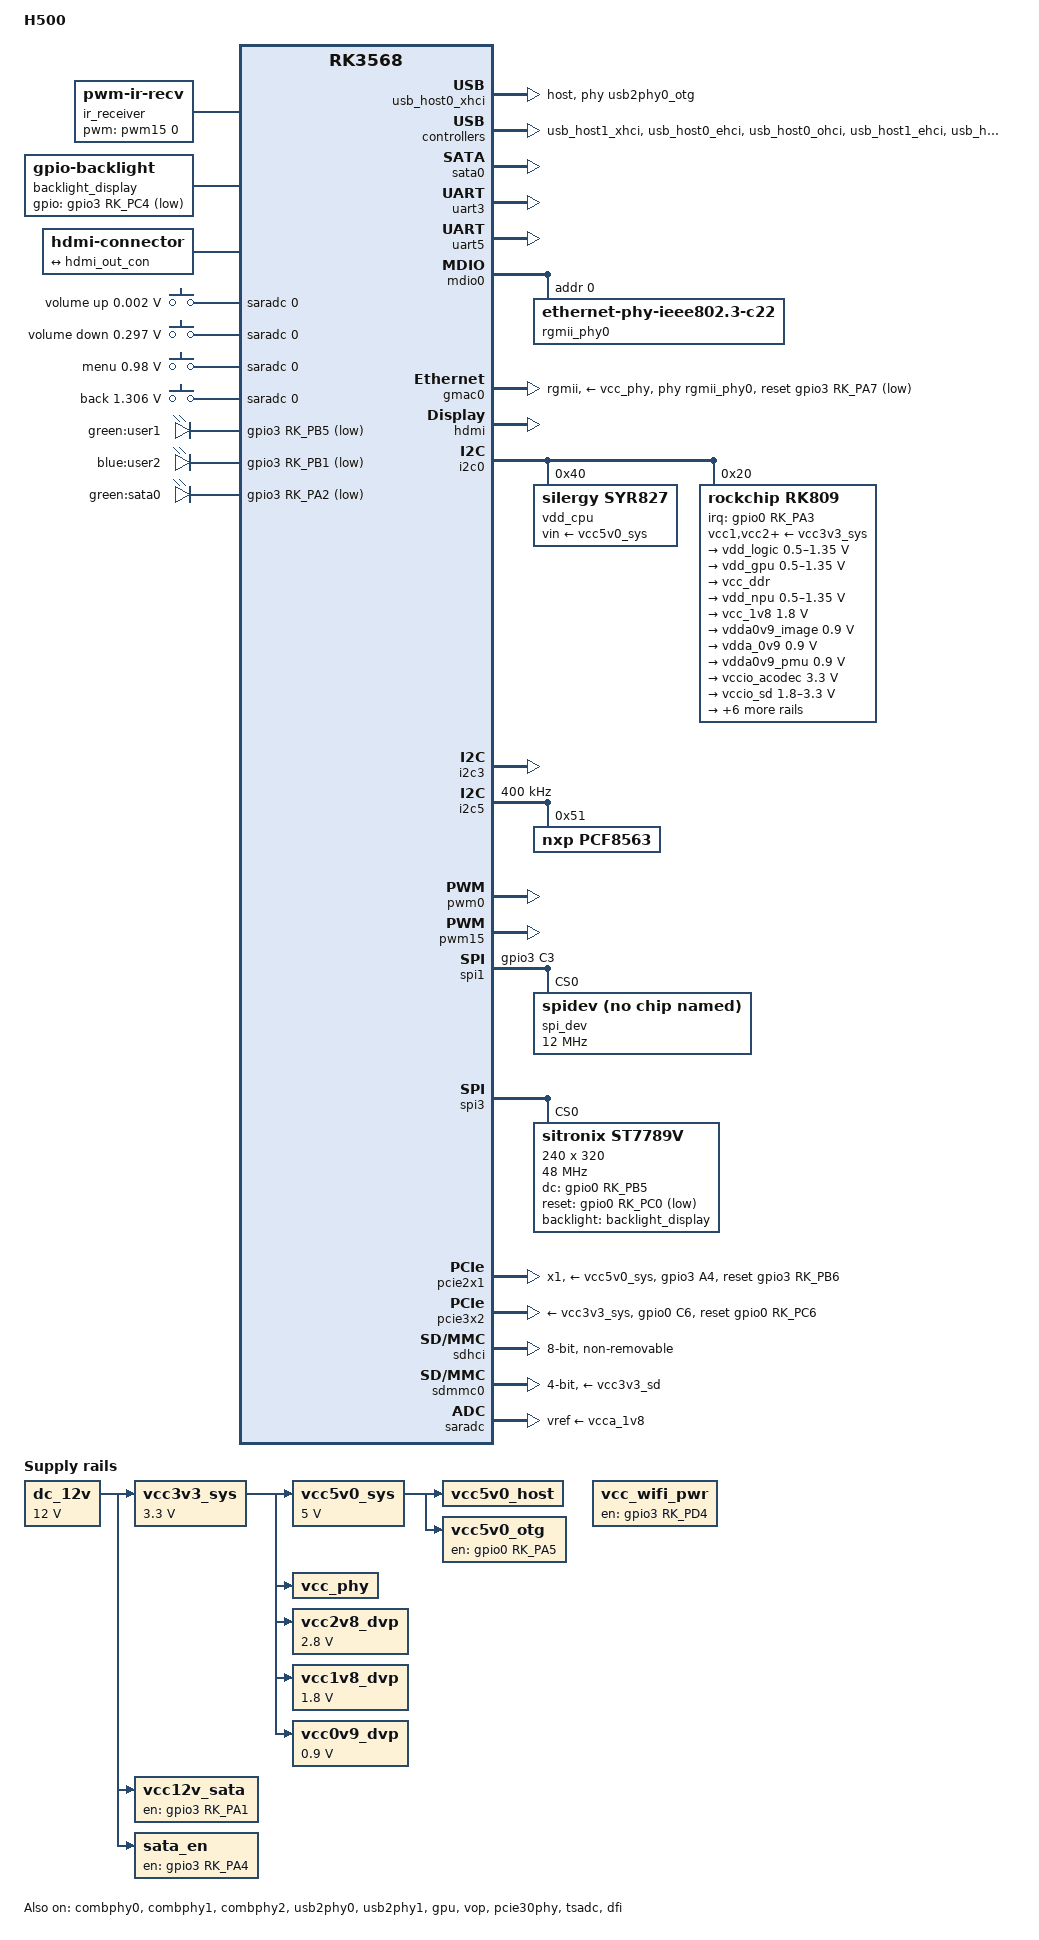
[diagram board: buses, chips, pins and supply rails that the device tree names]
// SPDX-License-Identifier: (GPL-2.0+ OR MIT)
/*
 * Copyright (c) 2021 Rockchip Electronics Co., Ltd.
 *
 */

/dts-v1/;
#include <dt-bindings/input/linux-event-codes.h>
#include <dt-bindings/pwm/pwm.h>
#include <dt-bindings/gpio/gpio.h>
#include <dt-bindings/leds/common.h>
#include <dt-bindings/pinctrl/rockchip.h>
#include <dt-bindings/soc/rockchip,vop2.h>
#include "rk3568.dtsi"
#include "rk3568-ip.dtsi"
#include "rk3568-ip-rk809.dtsi"
#include "rk3568-ramoops.dtsi"

/ {
	model = "H500";
	compatible = "rockchip,h500", "rockchip,rk3568";

	aliases {
		ethernet0 = &gmac0;
		mmc0 = &sdhci;
		mmc1 = &sdmmc0;
	};

	chosen: chosen {
		stdout-path = "serial2:1500000n8";
	};

	ir_receiver: ir-receiver {
		compatible = "pwm-ir-recv";
		pwms = <&pwm15 0 10000000 0>; 
		linux,rc-map-name = "rc-empty"; 
	};

	backlight_display: backlight-display {
		compatible = "gpio-backlight";
		gpios = <&gpio3 RK_PC4 GPIO_ACTIVE_LOW>;
		default-on;
	};

	hdmi-con {
		compatible = "hdmi-connector";
		type = "a";

		port {
			hdmi_con_in: endpoint {
				remote-endpoint = <&hdmi_out_con>;
			};
		};
	};	
	adc_keys: adc-keys {
		compatible = "adc-keys";
		io-channels = <&saradc 0>;
		io-channel-names = "buttons";
		keyup-threshold-microvolt = <1800000>;
		poll-interval = <100>;

		vol-up-key {
			label = "volume up";
			linux,code = <KEY_VOLUMEUP>;
			press-threshold-microvolt = <1750>;
		};

		vol-down-key {
			label = "volume down";
			linux,code = <KEY_VOLUMEDOWN>;
			press-threshold-microvolt = <297500>;
		};

		menu-key {
			label = "menu";
			linux,code = <KEY_MENU>;
			press-threshold-microvolt = <980000>;
		};

		back-key {
			label = "back";
			linux,code = <KEY_BACK>;
			press-threshold-microvolt = <1305500>;
		};
	};

	dc_12v: dc-12v-regulator {
		compatible = "regulator-fixed";
		regulator-name = "dc_12v";
		regulator-always-on;
		regulator-boot-on;
		regulator-min-microvolt = <12000000>;
		regulator-max-microvolt = <12000000>;
	};
	
	vcc3v3_sys: vcc3v3-sys {
		compatible = "regulator-fixed";
		regulator-name = "vcc3v3_sys";
		regulator-always-on;
		regulator-boot-on;
		regulator-min-microvolt = <3300000>;
		regulator-max-microvolt = <3300000>;
		vin-supply = <&dc_12v>;
	};

	vcc5v0_sys: vcc5v0-sys {
		compatible = "regulator-fixed";
		regulator-name = "vcc5v0_sys";
		regulator-always-on;
		regulator-boot-on;
		regulator-min-microvolt = <5000000>;
		regulator-max-microvolt = <5000000>;
		vin-supply = <&vcc3v3_sys>;
	};

	vcc_phy: vcc-phy-regulator {
		compatible = "regulator-fixed";
		regulator-name = "vcc_phy";
		regulator-always-on;
		regulator-boot-on;
		vin-supply = <&vcc3v3_sys>;
	};

	vcc12v_sata: vcc12v-sata {
		compatible = "regulator-fixed";
		regulator-name = "vcc12v_sata";
		regulator-always-on;
		regulator-boot-on;
		enable-active-high;
		gpios = <&gpio3 RK_PA1 GPIO_ACTIVE_HIGH>;
		vin-supply = <&dc_12v>;
		pinctrl-names = "default";
		pinctrl-0 = <&vcc12v_sata_enable_h>;
	};	

	sata_en: sata-en-regulator {
		compatible = "regulator-fixed";
		regulator-name = "sata_en";
		regulator-always-on;
		regulator-boot-on;
		enable-active-high;
		gpios = <&gpio3 RK_PA4 GPIO_ACTIVE_HIGH>;
		vin-supply = <&dc_12v>;
		pinctrl-names = "default";
		pinctrl-0 = <&asm1064_rst>;
	};
	
	vcc5v0_host: vcc5v0-host-regulator {
		compatible = "regulator-fixed";
		regulator-name = "vcc5v0_host";
		regulator-always-on;
		regulator-boot-on;
		vin-supply = <&vcc5v0_sys>;
	};

	vcc5v0_otg: vcc5v0-otg-regulator {
		compatible = "regulator-fixed";
		regulator-name = "vcc5v0_otg";
		regulator-always-on;
		regulator-boot-on;
		enable-active-high;
		gpios = <&gpio0 RK_PA5 GPIO_ACTIVE_HIGH>;
		vin-supply = <&vcc5v0_sys>;
		pinctrl-names = "default";
		pinctrl-0 = <&vcc5v0_otg_en>;
	};

	vcc2v8_dvp: vcc2v8-dvp-regulator {
		compatible = "regulator-fixed";
		regulator-name = "vcc2v8_dvp";
		regulator-always-on;
		regulator-boot-on;
		regulator-min-microvolt = <2800000>;
		regulator-max-microvolt = <2800000>;
		vin-supply = <&vcc3v3_sys>;
	};

	vcc1v8_dvp: vcc1v8-dvp-regulator {
		compatible = "regulator-fixed";
		regulator-name = "vcc1v8_dvp";
		regulator-always-on;
		regulator-boot-on;
		regulator-min-microvolt = <1800000>;
		regulator-max-microvolt = <1800000>;
		vin-supply = <&vcc3v3_sys>;
	};

	vcc0v9_dvp: vcc0v9-dvp-regulator {
		compatible = "regulator-fixed";
		regulator-name = "vcc0v9_dvp";
		regulator-always-on;
		regulator-boot-on;
		regulator-min-microvolt = <900000>;
		regulator-max-microvolt = <900000>;
		vin-supply = <&vcc3v3_sys>;
	};

	vcc_wifi_pwr: vcc-wifi-pwr {
		compatible = "regulator-fixed";
		regulator-name = "vcc_wifi_pwr";
		gpios = <&gpio3 RK_PD4 GPIO_ACTIVE_HIGH>;
		enable-active-high;
		regulator-always-on;
		regulator-boot-on;
	};

	leds {
		compatible = "gpio-leds";
		pinctrl-names = "default";
		pinctrl-0 = <&led_user_1 &led_user_2 &led_sata_0>;

		led-user-1 {
			label = "green:user1";
			gpios = <&gpio3 RK_PB5 GPIO_ACTIVE_LOW>;
			linux,default-trigger = "heartbeat";
		};

		led-user-2 {
			label = "blue:user2";
			gpios = <&gpio3 RK_PB1 GPIO_ACTIVE_LOW>;
		};

		led-sata-0 {
			label = "green:sata0";
			gpios = <&gpio3 RK_PA2 GPIO_ACTIVE_LOW>;
		};
	};

	rk809-sound {
		compatible = "simple-audio-card";
		simple-audio-card,format = "i2s";
		simple-audio-card,name = "Analog RK809";
		simple-audio-card,mclk-fs = <256>;
		status = "okay";

		simple-audio-card,cpu {
			sound-dai = <&i2s1_8ch>;
		};
		simple-audio-card,codec {
			sound-dai = <&rk809>;
		};
	};
};

&combphy0 {
	rockchip,phy-mode = <PHY_TYPE_USB3>;
	status = "okay";
};

&combphy1 {
	rockchip,phy-mode = <PHY_TYPE_USB3>; 
	status = "okay";
};

&combphy2 {
	rockchip,phy-mode = <PHY_TYPE_PCIE>;
	status = "okay";
};

&cpu0 {
	cpu-supply = <&vdd_cpu>;
};

&cpu1 {
	cpu-supply = <&vdd_cpu>;
};

&cpu2 {
	cpu-supply = <&vdd_cpu>;
};

&cpu3 {
	cpu-supply = <&vdd_cpu>;
};

&usb_host0_xhci {
	phys = <&usb2phy0_otg>;
	phy-names = "usb2-phy";
	extcon = <&usb2phy0>;
	maximum-speed = "high-speed";
	dr_mode = "host";
	status = "okay";
};

&usb_host1_xhci {
	status = "okay";
};

&usb2phy0 {
	status = "okay";

	u2phy0_host: host-port {
		phy-supply = <&vcc5v0_host>;
		status = "okay";
	};

	u2phy0_otg: otg-port {
		vbus-supply = <&vcc5v0_otg>;
		status = "okay";
	};
};

&usb2phy1 {
	status = "okay";

	u2phy1_host: host-port {
		phy-supply = <&vcc5v0_host>;
		status = "okay";
	};

	u2phy1_otg: otg-port {
		phy-supply = <&vcc5v0_host>;
		status = "okay";
	};
};

&usb_host0_ehci {
	status = "okay";
};

&usb_host0_ohci {
	status = "okay";
};

&usb_host1_ehci {
	status = "okay";
};

&usb_host1_ohci {
	status = "okay";
};

&sata0 {
	target-supply = <&sata_en>; 
	status = "okay";
};

&uart3 {
	pinctrl-names = "default";
	pinctrl-0 = <&uart3m1_xfer>;
	status = "okay";
};

&uart5 {
	pinctrl-names = "default";
	pinctrl-0 = <&uart5m1_xfer>;
	status = "okay";
};

&mdio0 {
	rgmii_phy0: phy@0 {
		compatible = "ethernet-phy-ieee802.3-c22";
		reg = <0x0>;
	};
};

&gmac0 {
	assigned-clocks = <&cru SCLK_GMAC0_RX_TX>, <&cru SCLK_GMAC0>;
	assigned-clock-parents = <&cru SCLK_GMAC0_RGMII_SPEED>, <&cru CLK_MAC0_2TOP>;
	assigned-clock-rates = <0>, <125000000>;
	clock_in_out = "input";
	phy-handle = <&rgmii_phy0>;
	phy-mode = "rgmii";
	phy-supply = <&vcc_phy>;
	snps,reset-active-low;
	snps,reset-delays-us = <0 20000 100000>;
	reset-gpios = <&gpio3 RK_PA7 GPIO_ACTIVE_LOW>;
	tx_delay = <0x2e>;
    rx_delay = <0x2a>;	
	pinctrl-names = "default";
	pinctrl-0 = <&gmac0_miim
		     &gmac0_tx_bus2
		     &gmac0_rx_bus2
		     &gmac0_rgmii_clk
		     &gmac0_rgmii_bus>;
	status = "okay";
};

&gpu {
	mali-supply = <&vdd_gpu>;
	status = "okay";
};

&hdmi {
	avdd-0v9-supply = <&vdda0v9_image>;
	avdd-1v8-supply = <&vcca1v8_image>;
	pinctrl-names = "default";
	pinctrl-0 = <&hdmitx_scl &hdmitx_sda &hdmitxm0_cec>;
	status = "okay";
};

&hdmi_in {
	hdmi_in_vp0: endpoint {
		remote-endpoint = <&vp0_out_hdmi>;
	};
};

&hdmi_out {
	hdmi_out_con: endpoint {
		remote-endpoint = <&hdmi_con_in>;
	};
};

&vop {
	assigned-clocks = <&cru DCLK_VOP0>, <&cru PLL_VPLL>, <&cru DCLK_VOP1>;
	assigned-clock-parents = <&pmucru PLL_HPLL>, <&xin24m>, <&cru PLL_VPLL>;
	assigned-clock-rates = <0>, <132000000>, <132000000>;
	status = "okay";
};

&vop_mmu {
	status = "okay";
};

&vp0 {
	vp0_out_hdmi: endpoint@ROCKCHIP_VOP2_EP_HDMI0 {
		reg = <ROCKCHIP_VOP2_EP_HDMI0>;
		remote-endpoint = <&hdmi_in_vp0>;
	};
};

&i2c0 {
	status = "okay";

	vdd_cpu: syr827@40 {
		compatible = "silergy,syr827";
		reg = <0x40>;
		vin-supply = <&vcc5v0_sys>;
		regulator-name = "vdd_cpu";
		regulator-min-microvolt = <712500>;
		regulator-max-microvolt = <1390000>;
		regulator-ramp-delay = <2300>;
		fcs,suspend-voltage-selector = <1>;
		regulator-always-on;
		regulator-boot-on;

		regulator-state-mem {
			regulator-off-in-suspend;
		};
	};

	rk809: pmic@20 {
		compatible = "rockchip,rk809";
		reg = <0x20>;
		interrupt-parent = <&gpio0>;
		interrupts = <RK_PA3 IRQ_TYPE_LEVEL_LOW>;
		assigned-clocks = <&cru I2S1_MCLKOUT_TX>;
		assigned-clock-parents = <&cru CLK_I2S1_8CH_TX>;
		#clock-cells = <1>;
		clock-names = "mclk";
		clocks = <&cru I2S1_MCLKOUT_TX>;
		pinctrl-names = "default";
		pinctrl-0 = <&pmic_int>, <&i2s1m0_mclk>;
		system-power-controller;
		#sound-dai-cells = <0>;
		vcc1-supply = <&vcc3v3_sys>;
		vcc2-supply = <&vcc3v3_sys>;
		vcc3-supply = <&vcc3v3_sys>;
		vcc4-supply = <&vcc3v3_sys>;
		vcc5-supply = <&vcc3v3_sys>;
		vcc6-supply = <&vcc3v3_sys>;
		vcc7-supply = <&vcc3v3_sys>;
		vcc8-supply = <&vcc3v3_sys>;
		vcc9-supply = <&vcc3v3_sys>;
		wakeup-source;
		
		pwrkey {
			summary = "rk805 pwrkey";
			compatible = "rockchip,rk805-pwrkey";
		};

		regulators {
			vdd_logic: DCDC_REG1 {
				regulator-name = "vdd_logic";
				regulator-always-on;
				regulator-boot-on;
				regulator-initial-mode = <0x2>;
				regulator-min-microvolt = <500000>;
				regulator-max-microvolt = <1350000>;
				regulator-ramp-delay = <6001>;
				status = "okay";
				regulator-state-mem {
					regulator-off-in-suspend;
				};
			};

			vdd_gpu: DCDC_REG2 {
				regulator-name = "vdd_gpu";
				regulator-always-on;
				regulator-boot-on;
				regulator-initial-mode = <0x2>;
				regulator-min-microvolt = <500000>;
				regulator-max-microvolt = <1350000>;
				regulator-ramp-delay = <6001>;

				regulator-state-mem {
					regulator-off-in-suspend;
				};
			};

			vcc_ddr: DCDC_REG3 {
				regulator-name = "vcc_ddr";
				regulator-always-on;
				regulator-boot-on;
				regulator-initial-mode = <0x2>;
				regulator-state-mem {
					regulator-on-in-suspend;
				};
			};

			vdd_npu: DCDC_REG4 {
				regulator-name = "vdd_npu";
				regulator-always-on;
				regulator-boot-on;
				regulator-initial-mode = <0x2>;
				regulator-min-microvolt = <500000>;
				regulator-max-microvolt = <1350000>;
				regulator-ramp-delay = <6001>;
				regulator-state-mem {
					regulator-off-in-suspend;
				};
			};

			vcc_1v8: DCDC_REG5 {
				regulator-name = "vcc_1v8";
				regulator-always-on;
				regulator-boot-on;
				regulator-min-microvolt = <1800000>;
				regulator-max-microvolt = <1800000>;

				regulator-state-mem {
					regulator-off-in-suspend;
				};
			};

			vdda0v9_image: LDO_REG1 {
				regulator-name = "vdda0v9_image";
				regulator-boot-on;
				regulator-always-on;
				regulator-min-microvolt = <900000>;
				regulator-max-microvolt = <900000>;
				regulator-state-mem {
					regulator-off-in-suspend;
				};
			};

			vdda_0v9: LDO_REG2 {
				regulator-name = "vdda_0v9";
				regulator-always-on;
				regulator-boot-on;
				regulator-min-microvolt = <900000>;
				regulator-max-microvolt = <900000>;
				regulator-state-mem {
					regulator-off-in-suspend;
				};
			};

			vdda0v9_pmu: LDO_REG3 {
				regulator-name = "vdda0v9_pmu";
				regulator-always-on;
				regulator-boot-on;
				regulator-min-microvolt = <900000>;
				regulator-max-microvolt = <900000>;
				regulator-state-mem {
					regulator-on-in-suspend;
					regulator-suspend-microvolt = <900000>;
				};
			};

			vccio_acodec: LDO_REG4 {
				regulator-name = "vccio_acodec";
				regulator-always-on;
				regulator-min-microvolt = <3300000>;
				regulator-max-microvolt = <3300000>;
				regulator-state-mem {
					regulator-off-in-suspend;
				};
			};

			vccio_sd: LDO_REG5 {
				regulator-always-on;
				regulator-boot-on;
				regulator-name = "vccio_sd";
				regulator-min-microvolt = <1800000>;
				regulator-max-microvolt = <3300000>;
				regulator-state-mem {
					regulator-off-in-suspend;
				};
			};

			vcc3v3_pmu: LDO_REG6 {
				regulator-name = "vcc3v3_pmu";
				regulator-always-on;
				regulator-boot-on;
				regulator-min-microvolt = <3300000>;
				regulator-max-microvolt = <3300000>;
				regulator-state-mem {
					regulator-on-in-suspend;
					regulator-suspend-microvolt = <3300000>;
				};
			};

			vcca_1v8: LDO_REG7 {
				regulator-name = "vcca_1v8";
				regulator-always-on;
				regulator-boot-on;
				regulator-min-microvolt = <1800000>;
				regulator-max-microvolt = <1800000>;
				regulator-state-mem {
					regulator-off-in-suspend;
				};
			};

			vcca1v8_pmu: LDO_REG8 {
				regulator-name = "vcca1v8_pmu";
				regulator-always-on;
				regulator-boot-on;
				regulator-min-microvolt = <1800000>;
				regulator-max-microvolt = <1800000>;
				regulator-state-mem {
					regulator-on-in-suspend;
					regulator-suspend-microvolt = <1800000>;
				};
			};

			vcca1v8_image: LDO_REG9 {
				regulator-name = "vcca1v8_image";
				regulator-always-on;
				regulator-boot-on;
				regulator-min-microvolt = <1800000>;
				regulator-max-microvolt = <1800000>;
				regulator-state-mem {
					regulator-off-in-suspend;
				};
			};

			vcc_3v3: SWITCH_REG1 {
				regulator-name = "vcc_3v3";
				vin-supply = <&vcc3v3_sys>;
				regulator-always-on;
				regulator-boot-on;
				regulator-state-mem {
					regulator-off-in-suspend;
				};
			};

			vcc3v3_sd: SWITCH_REG2 {
				regulator-name = "vcc3v3_sd";
				vin-supply = <&vcc3v3_sys>;
				regulator-always-on;
				regulator-boot-on;
				regulator-state-mem {
					regulator-off-in-suspend;
				};
			};
		};
	};
};

&i2c3 {
	status = "okay";
};

&i2c5 {
	status = "okay";
	clock-frequency = <400000>; 

	pcf8563: rtc@51 {
		compatible = "nxp,pcf8563";
		reg = <0x51>;
		#clock-cells = <0>;
	};
};

&pinctrl {
	leds {
		led_user_1: led-user-1 {
			rockchip,pins = <3 RK_PB5 RK_FUNC_GPIO &pcfg_pull_none>;
		};

		led_user_2: led-user-2 {
			rockchip,pins = <3 RK_PB1 RK_FUNC_GPIO &pcfg_pull_none>;
		};

		led_sata_0: led-sata-0 {
			rockchip,pins = <3 RK_PA2 RK_FUNC_GPIO &pcfg_pull_none>;
		};
	};

	spi1 {
		spi1m1_cs0: spi1m1-cs0 {
			rockchip,pins = <3 RK_PC3 RK_FUNC_GPIO &pcfg_pull_none>;
		};
	};

	fan-fg {
		fg_pin: fg-pin {
			rockchip,pins = <0 RK_PC4 RK_FUNC_GPIO &pcfg_pull_up>;
		};
	};

	pcie {
		pcie_reset_h: pcie-reset-h {
			rockchip,pins = <0 RK_PC6 RK_FUNC_GPIO &pcfg_pull_none>;
		};
		
		pcie2x1_reset_h: pcie2x1-reset-h {
			rockchip,pins = <3 RK_PB6 RK_FUNC_GPIO &pcfg_pull_none>;
		};
	};

	pmic {
		pmic_int: pmic-int {
			rockchip,pins = <0 RK_PA3 RK_FUNC_GPIO &pcfg_pull_up>;
		};

		soc_slppin_gpio: soc-slppin-gpio {
			rockchip,pins = <0 RK_PA2 RK_FUNC_GPIO &pcfg_pull_down>;
		};

		soc_slppin_slp: soc-slppin-slp {
			rockchip,pins = <0 RK_PA2 1 &pcfg_pull_up>;
		};

		soc_slppin_rst: soc-slppin-rst {
			rockchip,pins = <0 RK_PA2 2 &pcfg_pull_none>;
		};
	};

	usb {
		vcc5v0_otg_en: vcc5v0-otg-en {
			rockchip,pins = <0 RK_PA5 RK_FUNC_GPIO &pcfg_pull_none>;
		};
	};

	sata {
		vcc12v_sata_enable_h: vcc12v-sata-enable-h {
			rockchip,pins = <3 RK_PA1 RK_FUNC_GPIO &pcfg_pull_none>;
		};

		asm1064_rst: asm1064-rst {
			rockchip,pins = <3 RK_PA4 RK_FUNC_GPIO &pcfg_pull_none>;
		};
	};
};

&pmu_io_domains {
	pmuio1-supply = <&vcc3v3_pmu>;
	pmuio2-supply = <&vcc3v3_pmu>;
	vccio1-supply = <&vccio_acodec>;
	vccio2-supply = <&vcc_1v8>;
	vccio3-supply = <&vccio_sd>;
	vccio4-supply = <&vcc_1v8>;
	vccio5-supply = <&vcc_3v3>;
	vccio6-supply = <&vcc_1v8>;
	vccio7-supply = <&vcc_3v3>;
	status = "okay";
};

&pmucru {
	rockchip,pmugrf = <&pmugrf>;
	rockchip,grf = <&grf>;
};

&pwm0 {
	pinctrl-names = "default";
	pinctrl-0 = <&pwm0m1_pins>;
	status = "okay";
};

&pwm15 {
	pinctrl-names = "default";
	pinctrl-0 = <&pwm15m0_pins>;
	status = "okay";
};

&spi1 {
	status = "okay";
	pinctrl-names = "default";
	pinctrl-0 = <&spi1m1_pins &spi1m1_cs0>; 

	spi_dev@0 {
		compatible = "rohm,dh2228fv"; 
		reg = <0>;
		spi-max-frequency = <12000000>;
	};	
};

&spi3 {
	status = "okay";
	pinctrl-names = "default";
	pinctrl-0 = <&spi3m1_cs0 &spi3m1_pins>;

	st7789v@0 {
		compatible = "sitronix,st7789v";
		reg = <0>;
		status = "okay";
		spi-max-frequency = <48000000>;
		width = <240>;
		height = <320>;
		dc-gpios = <&gpio0 RK_PB5 GPIO_ACTIVE_HIGH>;
		reset-gpios = <&gpio0 RK_PC0 GPIO_ACTIVE_LOW>;
		backlight = <&backlight_display>;
		rotation = <90>;
	};
};

&pcie2x1 {
	num-lanes = <1>;
	pinctrl-names = "default";
	pinctrl-0 = <&asm1064_rst>;
	reset-gpios = <&gpio3 RK_PB6 GPIO_ACTIVE_HIGH>;	
	vpcie3v3-supply = <&vcc5v0_sys>; 
	status = "okay";
};

&pcie30phy {
	status = "okay";
};

&pcie3x2 {
	pinctrl-names = "default";
	pinctrl-0 = <&pcie_reset_h>;
	reset-gpios = <&gpio0 RK_PC6 GPIO_ACTIVE_HIGH>;
	vpcie3v3-supply = <&vcc3v3_sys>;
	status = "okay";
};

&sdhci {
	bus-width = <8>;
	max-frequency = <200000000>;
	non-removable;
	supports-emmc;
	status = "okay";
};

&sdmmc0 {
	max-frequency = <150000000>;
	supports-sd;
	bus-width = <4>;
	cap-mmc-highspeed;
	cap-sd-highspeed;
	disable-wp;
	sd-uhs-sdr104;
	vmmc-supply = <&vcc3v3_sd>;
	vqmmc-supply = <&vccio_sd>;
	pinctrl-names = "default";
	pinctrl-0 = <&sdmmc0_bus4 &sdmmc0_clk &sdmmc0_cmd &sdmmc0_det>;
	status = "okay";
};

&saradc {
	status = "okay";
	vref-supply = <&vcca_1v8>;
};

&tsadc {
	rockchip,hw-tshut-mode = <1>;
	rockchip,hw-tshut-polarity = <0>;
	status = "okay";
};

&dfi {
	status = "okay";
};

/ {
	/delete-node/ video-codec@fdea0400;
};

/ {
	/delete-node/ rga@fdeb0000;
};
